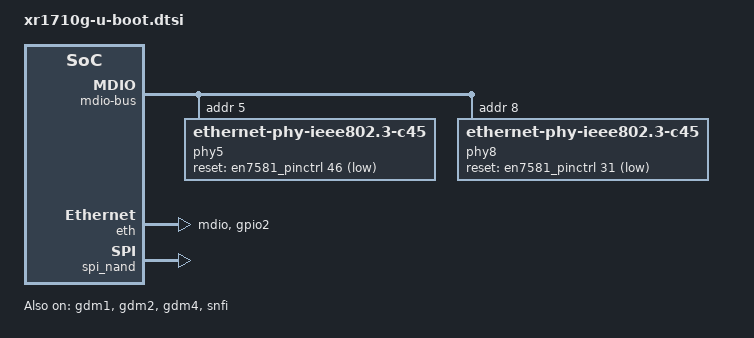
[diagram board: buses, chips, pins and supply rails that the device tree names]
// SPDX-License-Identifier: GPL-2.0+

/*
 * U-Boot-specific hardware description.  The SoC description and the
 * board-level memory layout live in xr1710g.dts.
 */

#include "an7581-u-boot.dtsi"

/* The board reserves the complete first 2 MiB for the early boot chain. */
/delete-node/ &atf_reserved;

/ {
	aliases {
		ethernet0 = &gdm4;
		ethernet1 = &gdm1;
		ethernet2 = &gdm2;
	};

	/*
	 * The stock XR1710G exposes the external RTL8261 PHYs on the FE MDIO
	 * controller instead of the switch-local MDIO block, matching the
	 * verified XR1710G-http-uboot chainloader.  Reset GPIOs: PHY5 -> 46,
	 * PHY8 -> 31, both active-low.
	 */
	mdio-bus {
		compatible = "airoha,arht-mdio";
		#address-cells = <1>;
		#size-cells = <0>;

		phy5: ethernet-phy@5 {
			compatible = "ethernet-phy-ieee802.3-c45";
			reg = <5>;
			reset-gpios = <&en7581_pinctrl 46 GPIO_ACTIVE_LOW>;
			reset-assert-us = <40000>;
			reset-deassert-us = <150000>;
			realtek,pnswap-tx;
			realtek,pnswap-rx;
		};

		phy8: ethernet-phy@8 {
			compatible = "ethernet-phy-ieee802.3-c45";
			reg = <8>;
			reset-gpios = <&en7581_pinctrl 31 GPIO_ACTIVE_LOW>;
			reset-assert-us = <40000>;
			reset-deassert-us = <150000>;
			realtek,pnswap-tx;
			realtek,pnswap-rx;
		};
	};
};

/* Enable the FE/QDMA block and mux the MDIO pins used by the board. */
&eth {
	pinctrl-names = "default";
	pinctrl-0 = <&mdio_pins>;
	status = "okay";
};

&en7581_pinctrl {
	mdio_pins: mdio-pins {
		mux {
			function = "mdio";
			groups = "mdio";
		};

		/*
		 * Hold the MDIO data pin high as done by the ImmortalWrt
		 * an7581-xr1710g-ubi.dts and the XR1710G-http-uboot
		 * chainloader.
		 */
		conf {
			pins = "gpio2";
			output-high;
		};
	};
};

/* gdm1 is the internal switch CPU port (fixed-link from the SoC dtsi). */
&gdm1 {
	status = "okay";
};

/* External RTL8261 PHY8 (USXGMII). */
&gdm2 {
	status = "okay";
	managed = "in-band-status";
	phy-mode = "usxgmii";
	phy-handle = <&phy8>;
};

/* External RTL8261 PHY5 (USXGMII). */
&gdm4 {
	status = "okay";
	managed = "in-band-status";
	phy-mode = "usxgmii";
	phy-handle = <&phy5>;
};

&snfi {
	status = "okay";
};

&spi_nand {
	status = "okay";
};
